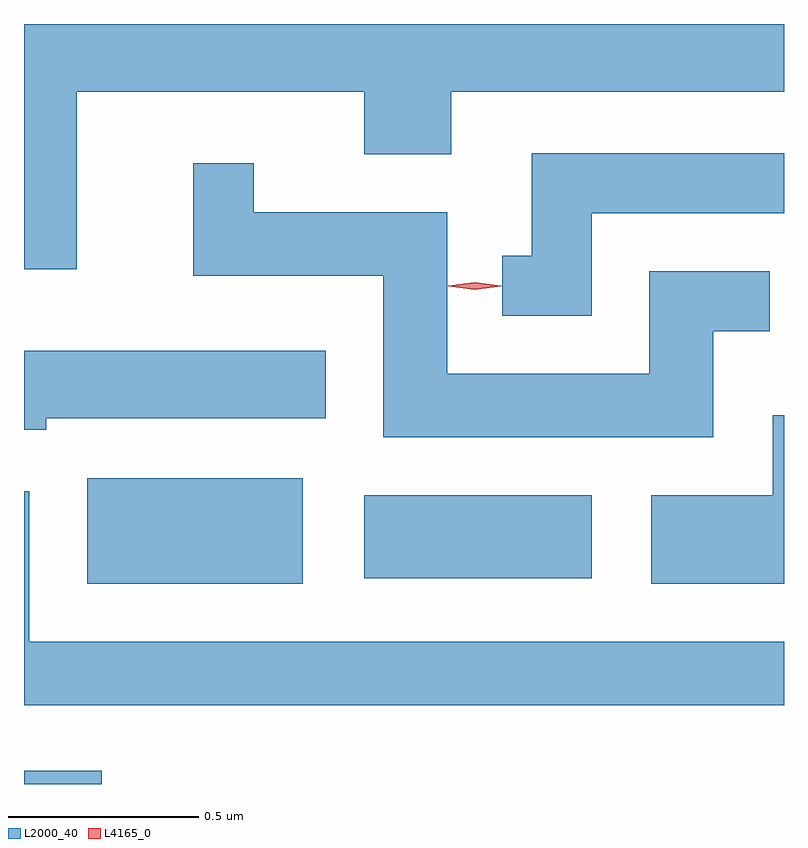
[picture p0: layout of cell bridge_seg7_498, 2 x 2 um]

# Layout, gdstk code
import gdstk
lib = gdstk.Library(unit=1e-6, precision=1e-09)
def R(c, l, rs):  # rectangles x0, y0, x1, y1
    for r in rs: c.add(gdstk.rectangle(r[:2], r[2:], *l))
def P(c, l, *ps):  # polygons
    for p in ps: c.add(gdstk.Polygon(p, *l))
L2000_40 = (2000, 40)
L4165_0 = (4165, 0)

bridge_seg7_498 = lib.new_cell('bridge_seg7_498')
R(bridge_seg7_498, L2000_40, [(1447.935,1730.254,1448.139,1730.289), (1448.101,1730.781,1448.669,1731.059), (1448.831,1730.796,1449.429,1731.014)])
P(bridge_seg7_498, L2000_40, [(1448.074,1732.076),(1448.831,1732.076),(1448.831,1731.911),(1449.059,1731.911),(1449.059,1732.076),(1449.935,1732.076),(1449.935,1732.254),(1447.935,1732.254),(1447.935,1731.608),(1448.074,1731.608)],
  [(1449.429,1731.756),(1449.935,1731.756),(1449.935,1731.914),(1449.271,1731.914),(1449.271,1731.644),(1449.193,1731.644),(1449.193,1731.486),(1449.429,1731.486)],
  [(1449.749,1731.446),(1449.898,1731.446),(1449.898,1731.604),(1449.581,1731.604),(1449.581,1731.334),(1449.049,1731.334),(1449.049,1731.759),(1448.539,1731.759),(1448.539,1731.888),(1448.381,1731.888),(1448.381,1731.591),(1448.881,1731.591),(1448.881,1731.166),(1449.749,1731.166)],
  [(1447.994,1731.216),(1448.729,1731.216),(1448.729,1731.394),(1447.935,1731.394),(1447.935,1731.186),(1447.994,1731.186)],
  [(1449.935,1731.224),(1449.906,1731.224),(1449.906,1731.014),(1449.586,1731.014),(1449.586,1730.781),(1449.935,1730.781)],
  [(1449.935,1730.629),(1447.949,1730.629),(1447.949,1731.024),(1447.935,1731.024),(1447.935,1730.461),(1449.935,1730.461)])
P(bridge_seg7_498, L4165_0, [(1449.121,1731.555),(1449.052,1731.564),(1449.052,1731.564),(1449.052,1731.565),(1449.121,1731.574),(1449.191,1731.565),(1449.191,1731.565),(1449.191,1731.564)])

lib.write_gds('bridge_seg7_498.gds')
